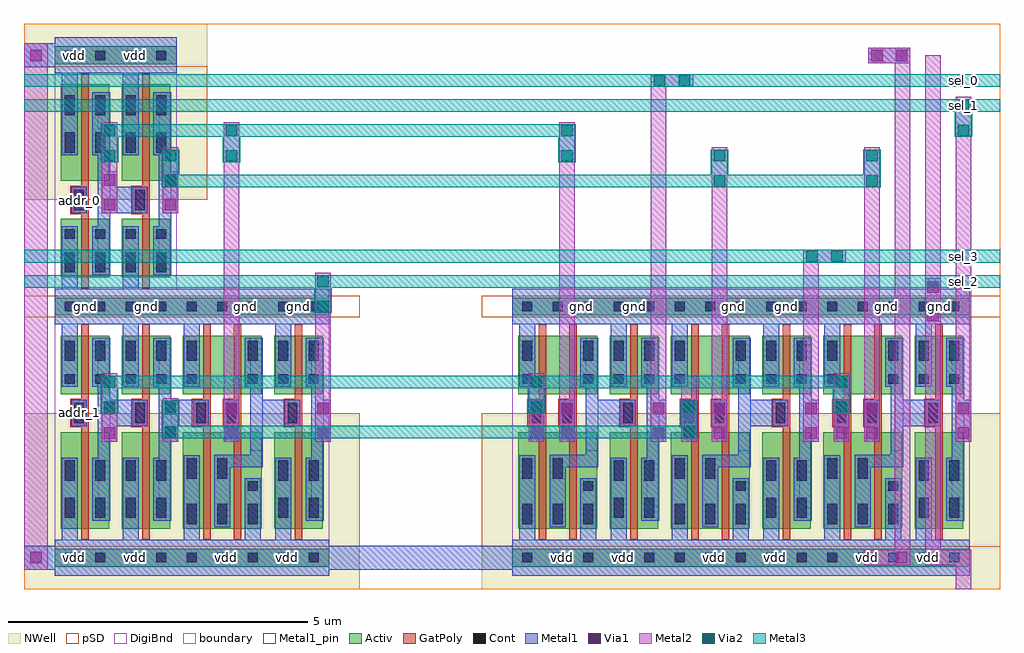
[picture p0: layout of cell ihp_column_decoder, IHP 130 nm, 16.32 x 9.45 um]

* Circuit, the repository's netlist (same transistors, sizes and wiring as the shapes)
* ------------------------------------------------------
*
*		Copyright 2025 IHP PDK Authors
*
*		Licensed under the Apache License, Version 2.0 (the "License");
*		you may not use this file except in compliance with the License.
*		You may obtain a copy of the License at
*
*		   https://www.apache.org/licenses/LICENSE-2.0
*
*		Unless required by applicable law or agreed to in writing, software
*		distributed under the License is distributed on an "AS IS" BASIS,
*		WITHOUT WARRANTIES OR CONDITIONS OF ANY KIND, either express or implied.
*		See the License for the specific language governing permissions and
*		limitations under the License.
*
*		Generated on Thu Jul 30 11:38:32 2026
*
* ------------------------------------------------------
* Flattened from column_decode_subset; unchanged W/L/m.
.subckt ihp_column_decoder addr_1 addr_0 sel_0 sel_1 sel_2 sel_3 vdd gnd
Xinternal_XI1<3>_MP1 internal_addr_n<3> internal_PADR<0> vdd vdd sg13_lv_pmos w=1.62u l=130.00n m=1
Xinternal_XI1<3>_MP0 internal_addr_n<3> internal_PADR<1> vdd vdd sg13_lv_pmos w=1.62u l=130.00n m=1
Xinternal_XI1<3>_MN0 internal_addr_n<3> internal_PADR<0> internal_XI1<3>_net7 gnd sg13_lv_nmos w=980.00n l=130.00n m=1
Xinternal_XI1<3>_MN1 internal_XI1<3>_net7 internal_PADR<1> gnd gnd sg13_lv_nmos w=980.00n l=130.00n m=1
Xinternal_XI1<2>_MP1 internal_addr_n<2> internal_NADR<0> vdd vdd sg13_lv_pmos w=1.62u l=130.00n m=1
Xinternal_XI1<2>_MP0 internal_addr_n<2> internal_PADR<1> vdd vdd sg13_lv_pmos w=1.62u l=130.00n m=1
Xinternal_XI1<2>_MN0 internal_addr_n<2> internal_NADR<0> internal_XI1<2>_net7 gnd sg13_lv_nmos w=980.00n l=130.00n m=1
Xinternal_XI1<2>_MN1 internal_XI1<2>_net7 internal_PADR<1> gnd gnd sg13_lv_nmos w=980.00n l=130.00n m=1
Xinternal_XI1<1>_MP1 internal_addr_n<1> internal_PADR<0> vdd vdd sg13_lv_pmos w=1.62u l=130.00n m=1
Xinternal_XI1<1>_MP0 internal_addr_n<1> internal_NADR<1> vdd vdd sg13_lv_pmos w=1.62u l=130.00n m=1
Xinternal_XI1<1>_MN0 internal_addr_n<1> internal_PADR<0> internal_XI1<1>_net7 gnd sg13_lv_nmos w=980.00n l=130.00n m=1
Xinternal_XI1<1>_MN1 internal_XI1<1>_net7 internal_NADR<1> gnd gnd sg13_lv_nmos w=980.00n l=130.00n m=1
Xinternal_XI1<0>_MP1 internal_addr_n<0> internal_NADR<0> vdd vdd sg13_lv_pmos w=1.62u l=130.00n m=1
Xinternal_XI1<0>_MP0 internal_addr_n<0> internal_NADR<1> vdd vdd sg13_lv_pmos w=1.62u l=130.00n m=1
Xinternal_XI1<0>_MN0 internal_addr_n<0> internal_NADR<0> internal_XI1<0>_net7 gnd sg13_lv_nmos w=980.00n l=130.00n m=1
Xinternal_XI1<0>_MN1 internal_XI1<0>_net7 internal_NADR<1> gnd gnd sg13_lv_nmos w=980.00n l=130.00n m=1
Xinternal_XI3<1>_MN0 internal_NADR<1> addr_1 gnd gnd sg13_lv_nmos w=980.00n l=130.00n m=1
Xinternal_XI3<1>_MP0 internal_NADR<1> addr_1 vdd vdd sg13_lv_pmos w=1.62u l=130.00n m=1
Xinternal_XI3<0>_MN0 internal_NADR<0> addr_0 gnd gnd sg13_lv_nmos w=980.00n l=130.00n m=1
Xinternal_XI3<0>_MP0 internal_NADR<0> addr_0 vdd vdd sg13_lv_pmos w=1.62u l=130.00n m=1
Xinternal_XI13<1>_MN0 internal_PADR<1> internal_NADR<1> gnd gnd sg13_lv_nmos w=980.00n l=130.00n m=1
Xinternal_XI13<1>_MP0 internal_PADR<1> internal_NADR<1> vdd vdd sg13_lv_pmos w=1.62u l=130.00n m=1
Xinternal_XI13<0>_MN0 internal_PADR<0> internal_NADR<0> gnd gnd sg13_lv_nmos w=980.00n l=130.00n m=1
Xinternal_XI13<0>_MP0 internal_PADR<0> internal_NADR<0> vdd vdd sg13_lv_pmos w=1.62u l=130.00n m=1
Xinternal_XI2<3>_MN0 sel_3 internal_addr_n<3> gnd gnd sg13_lv_nmos w=980.00n l=130.00n m=1
Xinternal_XI2<3>_MP0 sel_3 internal_addr_n<3> vdd vdd sg13_lv_pmos w=1.62u l=130.00n m=1
Xinternal_XI2<2>_MN0 sel_2 internal_addr_n<2> gnd gnd sg13_lv_nmos w=980.00n l=130.00n m=1
Xinternal_XI2<2>_MP0 sel_2 internal_addr_n<2> vdd vdd sg13_lv_pmos w=1.62u l=130.00n m=1
Xinternal_XI2<1>_MN0 sel_1 internal_addr_n<1> gnd gnd sg13_lv_nmos w=980.00n l=130.00n m=1
Xinternal_XI2<1>_MP0 sel_1 internal_addr_n<1> vdd vdd sg13_lv_pmos w=1.62u l=130.00n m=1
Xinternal_XI2<0>_MN0 sel_0 internal_addr_n<0> gnd gnd sg13_lv_nmos w=980.00n l=130.00n m=1
Xinternal_XI2<0>_MP0 sel_0 internal_addr_n<0> vdd vdd sg13_lv_pmos w=1.62u l=130.00n m=1
.ends ihp_column_decoder

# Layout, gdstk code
import gdstk
lib = gdstk.Library(unit=1e-6, precision=1e-09)
def R(c, l, rs):  # rectangles x0, y0, x1, y1
    for r in rs: c.add(gdstk.rectangle(r[:2], r[2:], *l))
def A(c, l, x, y, w, h, nx, ny, dx, dy):  # array of equal rectangles
    R(c, l, [(x+i*dx, y+j*dy, x+i*dx+w, y+j*dy+h) for i in range(nx) for j in range(ny)])
def P(c, l, *ps):  # polygons
    for p in ps: c.add(gdstk.Polygon(p, *l))
Activ = (1, 0)
GatPoly = (5, 0)
Cont = (6, 0)
Metal1 = (8, 0)
Metal1_pin = (8, 2)
Metal2 = (10, 0)
pSD = (14, 0)
DigiBnd = (16, 0)
Via1 = (19, 0)
Via2 = (29, 0)
Metal3 = (30, 0)
NWell = (31, 0)
boundary = (189, 4)

ihp_column_decoder = lib.new_cell('ihp_column_decoder')
A(ihp_column_decoder, Activ, 8.265, 1.005, 1.32, 1.62, 3, 1, 2.55, 0)
A(ihp_column_decoder, Activ, 9.795, 1.005, 0.81, 1.62, 3, 1, 2.55, 0)
A(ihp_column_decoder, Activ, 8.265, 3.255, 1.32, 0.98, 3, 1, 2.55, 0)
A(ihp_column_decoder, Activ, 9.795, 3.255, 0.81, 0.98, 3, 1, 2.55, 0)
R(ihp_column_decoder, Activ, [(0.51,0.375,5.1,0.675), (8.16,0.375,15.81,0.675), (0.615,1.005,1.425,2.625), (1.635,1.005,2.445,2.625), (2.655,1.005,3.975,2.625), (4.185,1.005,4.995,2.625), (0.615,3.255,1.425,4.235), (1.635,3.255,2.445,4.235), (2.655,3.255,3.975,4.235), (4.185,3.255,4.995,4.235), (0.51,4.575,5.1,4.875), (8.16,4.575,15.81,4.875), (0.615,5.215,1.425,6.195), (1.635,5.215,2.445,6.195), (0.615,6.825,1.425,8.445), (1.635,6.825,2.445,8.445), (0.51,8.775,2.55,9.075)])
P(ihp_column_decoder, GatPoly, [(0.955,0.825),(0.955,2.705),(0.77,2.705),(0.77,3.185),(0.955,3.185),(0.955,4.425),(1.085,4.425),(1.085,0.825)],
  [(1.975,0.825),(1.975,2.705),(1.79,2.705),(1.79,3.185),(1.975,3.185),(1.975,4.425),(2.105,4.425),(2.105,0.825)],
  [(2.995,0.825),(2.995,2.705),(2.805,2.705),(2.805,3.185),(2.995,3.185),(2.995,4.425),(3.125,4.425),(3.125,0.825)],
  [(3.505,0.825),(3.505,2.705),(3.32,2.705),(3.32,3.185),(3.505,3.185),(3.505,4.425),(3.635,4.425),(3.635,0.825)],
  [(4.525,0.825),(4.525,2.705),(4.34,2.705),(4.34,3.185),(4.525,3.185),(4.525,4.425),(4.655,4.425),(4.655,0.825)],
  [(8.605,0.825),(8.605,2.705),(8.415,2.705),(8.415,3.185),(8.605,3.185),(8.605,4.425),(8.735,4.425),(8.735,0.825)],
  [(9.115,0.825),(9.115,2.705),(8.93,2.705),(8.93,3.185),(9.115,3.185),(9.115,4.425),(9.245,4.425),(9.245,0.825)],
  [(10.135,0.825),(10.135,2.705),(9.95,2.705),(9.95,3.185),(10.135,3.185),(10.135,4.425),(10.265,4.425),(10.265,0.825)],
  [(11.155,0.825),(11.155,2.705),(10.965,2.705),(10.965,3.185),(11.155,3.185),(11.155,4.425),(11.285,4.425),(11.285,0.825)],
  [(11.665,0.825),(11.665,2.705),(11.48,2.705),(11.48,3.185),(11.665,3.185),(11.665,4.425),(11.795,4.425),(11.795,0.825)],
  [(12.685,0.825),(12.685,2.705),(12.5,2.705),(12.5,3.185),(12.685,3.185),(12.685,4.425),(12.815,4.425),(12.815,0.825)],
  [(13.705,0.825),(13.705,2.705),(13.515,2.705),(13.515,3.185),(13.705,3.185),(13.705,4.425),(13.835,4.425),(13.835,0.825)],
  [(14.215,0.825),(14.215,2.705),(14.03,2.705),(14.03,3.185),(14.215,3.185),(14.215,4.425),(14.345,4.425),(14.345,0.825)],
  [(15.235,0.825),(15.235,2.705),(15.05,2.705),(15.05,3.185),(15.235,3.185),(15.235,4.425),(15.365,4.425),(15.365,0.825)],
  [(0.955,5.025),(0.955,6.265),(0.77,6.265),(0.77,6.745),(0.955,6.745),(0.955,8.625),(1.085,8.625),(1.085,5.025)],
  [(1.975,5.025),(1.975,6.265),(1.79,6.265),(1.79,6.745),(1.975,6.745),(1.975,8.625),(2.105,8.625),(2.105,5.025)])
A(ihp_column_decoder, Cont, 0.685, 0.445, 0.16, 0.16, 9, 2, 0.51, 4.2)
A(ihp_column_decoder, Cont, 8.335, 0.445, 0.16, 0.16, 15, 2, 0.51, 4.2)
A(ihp_column_decoder, Cont, 2.725, 1.085, 0.16, 0.34, 3, 1, 0.51, 0)
A(ihp_column_decoder, Cont, 8.335, 1.085, 0.16, 0.34, 3, 1, 0.51, 0)
A(ihp_column_decoder, Cont, 10.885, 1.085, 0.16, 0.34, 3, 1, 0.51, 0)
A(ihp_column_decoder, Cont, 13.435, 1.085, 0.16, 0.34, 3, 1, 0.51, 0)
A(ihp_column_decoder, Cont, 0.685, 1.19, 0.16, 0.34, 4, 2, 0.51, 0.62)
A(ihp_column_decoder, Cont, 9.355, 1.645, 0.16, 0.16, 3, 1, 2.55, 0)
A(ihp_column_decoder, Cont, 0.84, 2.775, 0.16, 0.34, 3, 1, 1.02, 0)
A(ihp_column_decoder, Cont, 9, 2.775, 0.16, 0.34, 3, 1, 1.02, 0)
A(ihp_column_decoder, Cont, 11.55, 2.775, 0.16, 0.34, 3, 1, 1.02, 0)
A(ihp_column_decoder, Cont, 0.685, 3.435, 0.16, 0.16, 5, 1, 0.51, 0)
A(ihp_column_decoder, Cont, 3.745, 3.435, 0.16, 0.16, 3, 1, 0.51, 0)
A(ihp_column_decoder, Cont, 9.355, 3.435, 0.16, 0.16, 4, 1, 0.51, 0)
A(ihp_column_decoder, Cont, 11.905, 3.435, 0.16, 0.16, 4, 1, 0.51, 0)
A(ihp_column_decoder, Cont, 14.455, 3.435, 0.16, 0.16, 3, 1, 0.51, 0)
A(ihp_column_decoder, Cont, 0.685, 3.815, 0.16, 0.34, 5, 1, 0.51, 0)
A(ihp_column_decoder, Cont, 3.745, 3.815, 0.16, 0.34, 3, 1, 0.51, 0)
A(ihp_column_decoder, Cont, 9.355, 3.815, 0.16, 0.34, 4, 1, 0.51, 0)
A(ihp_column_decoder, Cont, 11.905, 3.815, 0.16, 0.34, 4, 1, 0.51, 0)
A(ihp_column_decoder, Cont, 14.455, 3.815, 0.16, 0.34, 3, 1, 0.51, 0)
A(ihp_column_decoder, Cont, 0.685, 5.295, 0.16, 0.34, 4, 2, 0.51, 2.005)
A(ihp_column_decoder, Cont, 0.685, 5.855, 0.16, 0.16, 4, 2, 0.51, 2.99)
A(ihp_column_decoder, Cont, 0.685, 7.92, 0.16, 0.34, 4, 1, 0.51, 0)
R(ihp_column_decoder, Cont, [(4.255,1.19,4.415,1.53), (4.765,1.19,4.925,1.53), (9.865,1.19,10.025,1.53), (10.375,1.19,10.535,1.53), (12.415,1.19,12.575,1.53), (12.925,1.19,13.085,1.53), (14.965,1.19,15.125,1.53), (15.475,1.19,15.635,1.53), (3.745,1.645,3.905,1.805), (4.255,1.81,4.415,2.15), (4.765,1.81,4.925,2.15), (9.865,1.81,10.025,2.15), (10.375,1.81,10.535,2.15), (12.415,1.81,12.575,2.15), (12.925,1.81,13.085,2.15), (14.965,1.81,15.125,2.15), (15.475,1.81,15.635,2.15), (2.725,1.845,2.885,2.185), (3.235,1.845,3.395,2.185), (8.335,1.845,8.495,2.185), (8.845,1.845,9.005,2.185), (10.885,1.845,11.045,2.185), (11.395,1.845,11.555,2.185), (13.435,1.845,13.595,2.185), (13.945,1.845,14.105,2.185), (3.39,2.775,3.55,3.115), (4.41,2.775,4.57,3.115), (8.49,2.775,8.65,3.115), (14.1,2.775,14.26,3.115), (15.12,2.775,15.28,3.115), (8.335,3.435,8.495,3.595), (8.335,3.815,8.495,4.155), (0.84,6.335,1,6.675), (1.86,6.335,2.02,6.675)])
A(ihp_column_decoder, Metal1, 8.285, 0.825, 0.26, 1.41, 3, 1, 2.55, 0)
A(ihp_column_decoder, Metal1, 9.305, 0.825, 0.26, 1.03, 3, 1, 2.55, 0)
A(ihp_column_decoder, Metal1, 9.815, 0.825, 0.26, 1.375, 3, 1, 2.55, 0)
A(ihp_column_decoder, Metal1, 8.79, 1.035, 0.265, 1, 3, 1, 2.55, 0)
A(ihp_column_decoder, Metal1, 10.325, 1.14, 0.295, 1.06, 3, 1, 2.55, 0)
A(ihp_column_decoder, Metal1, 8.79, 2.035, 0.81, 0.21, 3, 1, 2.55, 0)
A(ihp_column_decoder, Metal1, 10.41, 2.2, 0.21, 0.265, 3, 1, 2.55, 0)
A(ihp_column_decoder, Metal1, 9.39, 2.245, 0.21, 0.48, 3, 1, 2.55, 0)
A(ihp_column_decoder, Metal1, 10.41, 2.465, 0.33, 0.7, 3, 1, 2.55, 0)
A(ihp_column_decoder, Metal1, 9.39, 2.725, 0.84, 0.44, 3, 1, 2.55, 0)
A(ihp_column_decoder, Metal1, 0.635, 3.385, 0.26, 1.04, 3, 1, 1.02, 0)
R(ihp_column_decoder, Metal1, [(0.51,0.225,5.1,0.325), (8.16,0.225,15.81,0.325), (0,0.325,15.81,0.725), (0.51,0.725,5.1,0.825), (8.16,0.725,15.81,0.825), (0.635,0.825,0.895,2.2), (1.655,0.825,1.915,2.2), (2.675,0.825,2.935,2.235), (3.695,0.825,3.955,1.855), (4.205,0.825,4.465,2.2), (3.18,1.035,3.445,2.035), (1.145,1.14,1.44,2.2), (2.165,1.14,2.46,2.2), (4.715,1.14,5.01,2.2), (3.18,2.035,3.99,2.245), (1.23,2.2,1.44,2.465), (2.25,2.2,2.46,2.465), (4.8,2.2,5.01,2.465), (3.78,2.245,3.99,2.725), (1.23,2.465,1.56,2.725), (2.25,2.465,2.58,2.725), (3.34,2.465,3.6,3.165), (4.8,2.465,5.13,3.165), (8.44,2.465,8.7,3.165), (8.95,2.465,9.21,3.165), (10.99,2.465,11.25,3.165), (11.5,2.465,11.76,3.165), (13.54,2.465,13.8,3.165), (14.05,2.465,14.31,3.165), (0.79,2.725,1.05,3.165), (1.23,2.725,2.07,3.165), (2.25,2.725,3.09,3.165), (3.78,2.725,4.62,3.165), (1.23,3.165,1.44,3.385), (2.25,3.165,2.46,3.385), (3.78,3.165,3.99,3.385), (4.8,3.165,5.01,3.385), (9.39,3.165,9.6,3.385), (10.41,3.165,10.62,3.385), (11.94,3.165,12.15,3.385), (12.96,3.165,13.17,3.385), (14.49,3.165,14.7,3.385), (15.51,3.165,15.72,3.385), (1.145,3.385,1.44,4.205), (2.165,3.385,2.46,4.205), (3.695,3.385,3.99,4.205), (4.205,3.385,4.465,4.425), (4.715,3.385,5.01,4.205), (8.285,3.385,8.545,4.425), (9.305,3.385,9.6,4.205), (9.815,3.385,10.075,4.425), (10.325,3.385,10.62,4.205), (10.835,3.385,11.095,4.425), (11.855,3.385,12.15,4.205), (12.365,3.385,12.625,4.425), (12.875,3.385,13.17,4.205), (13.385,3.385,13.645,4.425), (14.405,3.385,14.7,4.205), (14.915,3.385,15.175,4.425), (15.425,3.385,15.72,4.205), (0.51,4.425,5.1,5.025), (8.16,4.425,15.81,5.025), (0.635,5.025,0.895,6.065), (1.655,5.025,1.915,6.065), (15.07,5.025,15.33,5.195), (1.145,5.245,1.44,6.065), (2.165,5.245,2.46,6.065), (1.23,6.065,1.44,6.285), (2.25,6.065,2.46,6.285), (0.79,6.285,1.05,6.725), (1.23,6.285,2.07,6.725), (2.25,6.285,2.58,6.985), (1.23,6.725,1.56,6.985), (1.23,6.985,1.44,7.25), (2.25,6.985,2.46,7.25), (0.635,7.25,0.895,8.625), (1.145,7.25,1.44,8.31), (1.655,7.25,1.915,8.625), (2.165,7.25,2.46,8.31), (0.51,8.625,2.55,8.725), (0,8.725,2.55,9.125), (14.12,8.795,14.82,9.055), (0.51,9.125,2.55,9.225)])
A(ihp_column_decoder, Metal1_pin, 10.41, 1.365, 0.21, 2.73, 3, 1, 2.55, 0)
A(ihp_column_decoder, Metal1_pin, 9.39, 2.31, 0.21, 1.895, 3, 1, 2.55, 0)
A(ihp_column_decoder, Metal1_pin, 0.79, 2.725, 0.26, 0.44, 3, 1, 1.02, 0)
A(ihp_column_decoder, Metal1_pin, 8.95, 2.725, 0.26, 0.44, 3, 1, 1.02, 0)
A(ihp_column_decoder, Metal1_pin, 11.5, 2.725, 0.26, 0.44, 3, 1, 1.02, 0)
R(ihp_column_decoder, Metal1_pin, [(0.51,0.225,5.1,0.825), (8.16,0.225,15.81,0.825), (1.23,1.365,1.44,4.095), (2.25,1.365,2.46,4.095), (4.8,1.365,5.01,4.095), (3.78,2.31,3.99,4.205), (3.34,2.725,3.6,3.165), (4.36,2.725,4.62,3.165), (8.44,2.725,8.7,3.165), (14.05,2.725,14.31,3.165), (15.07,2.725,15.33,3.165), (0.51,4.425,5.1,5.025), (8.16,4.425,15.81,5.025), (1.23,5.355,1.44,8.085), (2.25,5.355,2.46,8.085), (0.79,6.285,1.05,6.725), (1.81,6.285,2.07,6.725), (0.51,8.625,2.55,9.225)])
R(ihp_column_decoder, Metal2, [(15.58,0,15.84,0.395), (0,0.325,0.4,9.125), (14.05,0.395,14.82,0.655), (15.07,0.395,15.84,0.655), (14.56,0.655,14.82,8.795), (15.07,0.655,15.33,8.925), (1.3,2.465,1.56,3.61), (2.32,2.465,2.58,3.19), (3.34,2.465,3.6,7.81), (4.87,2.465,5.13,5.29), (8.44,2.465,8.7,3.61), (8.95,2.465,9.21,7.81), (10.48,2.465,10.74,8.4), (10.99,2.465,11.25,3.57), (11.5,2.465,11.76,7.39), (13.03,2.465,13.29,5.46), (13.54,2.465,13.8,3.61), (14.05,2.465,14.31,7.39), (15.58,2.465,15.84,8.23), (13.03,5.46,13.74,5.67), (1.3,6.285,1.56,7.81), (2.32,6.285,2.58,7.39), (10.48,8.4,11.19,8.61), (14.12,8.795,14.82,9.055)])
R(ihp_column_decoder, pSD, [(0,0.705,5.61,2.94), (7.65,0.705,16.32,2.94), (0,4.545,5.61,4.905), (7.65,4.545,16.32,4.905), (0,6.51,3.06,8.745)])
R(ihp_column_decoder, DigiBnd, [(8.16,0.225,15.81,5.025)])
P(ihp_column_decoder, DigiBnd, [(0.51,0.225),(0.51,9.225),(2.55,9.225),(2.55,5.025),(5.1,5.025),(5.1,0.225)])
A(ihp_column_decoder, Via1, 1.335, 2.515, 0.19, 0.19, 3, 2, 1.02, 0.41)
A(ihp_column_decoder, Via1, 10.515, 2.515, 0.19, 0.19, 3, 2, 0.51, 0.41)
A(ihp_column_decoder, Via1, 13.065, 2.515, 0.19, 0.19, 3, 2, 0.51, 0.41)
R(ihp_column_decoder, Via1, [(0.105,0.43,0.295,0.62), (14.1,0.43,14.29,0.62), (14.58,0.43,14.77,0.62), (4.905,2.515,5.095,2.705), (8.475,2.515,8.665,2.705), (8.985,2.515,9.175,2.705), (15.615,2.515,15.805,2.705), (4.905,2.925,5.095,3.115), (8.475,2.925,8.665,3.115), (8.985,2.925,9.175,3.115), (15.615,2.925,15.805,3.115), (15.105,4.475,15.295,4.665), (15.105,4.955,15.295,5.145), (1.335,6.335,1.525,6.525), (2.355,6.335,2.545,6.525), (1.335,6.745,1.525,6.935), (2.355,6.745,2.545,6.935), (0.105,8.83,0.295,9.02), (14.17,8.83,14.36,9.02), (14.58,8.83,14.77,9.02)])
A(ihp_column_decoder, Via2, 8.475, 2.95, 0.19, 0.19, 3, 1, 2.55, 0)
A(ihp_column_decoder, Via2, 1.335, 7.15, 0.19, 0.19, 3, 1, 1.02, 0)
A(ihp_column_decoder, Via2, 8.985, 7.15, 0.19, 0.19, 3, 1, 2.55, 0)
R(ihp_column_decoder, Via2, [(2.355,2.53,2.545,2.72), (11.025,2.53,11.215,2.72), (1.335,2.95,1.525,3.14), (2.355,2.95,2.545,3.14), (1.335,3.37,1.525,3.56), (8.475,3.37,8.665,3.56), (13.575,3.37,13.765,3.56), (4.905,4.63,5.095,4.82), (4.905,5.05,5.095,5.24), (13.08,5.47,13.27,5.66), (13.5,5.47,13.69,5.66), (2.355,6.73,2.545,6.92), (11.535,6.73,11.725,6.92), (14.085,6.73,14.275,6.92), (1.335,7.57,1.525,7.76), (3.375,7.57,3.565,7.76), (8.985,7.57,9.175,7.76), (15.615,7.57,15.805,7.76), (15.615,7.99,15.805,8.18), (10.53,8.41,10.72,8.6), (10.95,8.41,11.14,8.6)])
R(ihp_column_decoder, Metal3, [(2.305,2.52,11.265,2.73), (2.305,2.73,2.595,3.15), (10.975,2.73,11.265,3.15), (1.285,2.94,1.575,3.36), (8.425,2.94,8.715,3.36), (13.525,2.94,13.815,3.36), (1.285,3.36,13.815,3.57), (4.855,4.62,5.145,5.04), (0,5.04,16.32,5.25), (0,5.46,16.32,5.67), (2.305,6.72,14.325,6.93), (2.305,6.93,2.595,7.35), (11.485,6.93,11.775,7.35), (14.035,6.93,14.325,7.35), (1.285,7.14,1.575,7.56), (3.325,7.14,3.615,7.56), (8.935,7.14,9.225,7.56), (1.285,7.56,9.225,7.77), (15.565,7.56,15.855,7.98), (0,7.98,16.32,8.19), (0,8.4,16.32,8.61)])
R(ihp_column_decoder, NWell, [(0,0,5.61,2.94), (7.65,0,16.32,2.94), (0,6.51,3.06,9.45)])
R(ihp_column_decoder, boundary, [(0,0,16.32,9.45)])
ihp_column_decoder.add(gdstk.Label('addr_1', (0.92,2.945), layer=8, texttype=25))
ihp_column_decoder.add(gdstk.Label('addr_0', (0.92,6.505), layer=8, texttype=25))
ihp_column_decoder.add(gdstk.Label('gnd', (15.3,4.725), layer=8, texttype=25))
ihp_column_decoder.add(gdstk.Label('vdd', (15.12,0.525), layer=8, texttype=25))
ihp_column_decoder.add(gdstk.Label('gnd', (2.04,4.725), layer=8, texttype=25))
ihp_column_decoder.add(gdstk.Label('vdd', (1.86,0.525), layer=8, texttype=25))
ihp_column_decoder.add(gdstk.Label('gnd', (1.02,4.725), layer=8, texttype=25))
ihp_column_decoder.add(gdstk.Label('vdd', (0.84,0.525), layer=8, texttype=25))
ihp_column_decoder.add(gdstk.Label('gnd', (4.59,4.725), layer=8, texttype=25))
ihp_column_decoder.add(gdstk.Label('vdd', (4.41,0.525), layer=8, texttype=25))
ihp_column_decoder.add(gdstk.Label('gnd', (12.75,4.725), layer=8, texttype=25))
ihp_column_decoder.add(gdstk.Label('vdd', (12.57,0.525), layer=8, texttype=25))
ihp_column_decoder.add(gdstk.Label('gnd', (10.2,4.725), layer=8, texttype=25))
ihp_column_decoder.add(gdstk.Label('vdd', (10.02,0.525), layer=8, texttype=25))
ihp_column_decoder.add(gdstk.Label('gnd', (1.02,4.725), layer=8, texttype=25))
ihp_column_decoder.add(gdstk.Label('vdd', (0.84,8.925), layer=8, texttype=25))
ihp_column_decoder.add(gdstk.Label('gnd', (2.04,4.725), layer=8, texttype=25))
ihp_column_decoder.add(gdstk.Label('vdd', (1.86,8.925), layer=8, texttype=25))
ihp_column_decoder.add(gdstk.Label('vdd', (11.55,0.525), layer=8, texttype=25))
ihp_column_decoder.add(gdstk.Label('gnd', (11.865,4.725), layer=8, texttype=25))
ihp_column_decoder.add(gdstk.Label('vdd', (14.1,0.525), layer=8, texttype=25))
ihp_column_decoder.add(gdstk.Label('gnd', (14.415,4.725), layer=8, texttype=25))
ihp_column_decoder.add(gdstk.Label('vdd', (9,0.525), layer=8, texttype=25))
ihp_column_decoder.add(gdstk.Label('gnd', (9.315,4.725), layer=8, texttype=25))
ihp_column_decoder.add(gdstk.Label('vdd', (3.39,0.525), layer=8, texttype=25))
ihp_column_decoder.add(gdstk.Label('gnd', (3.705,4.725), layer=8, texttype=25))
ihp_column_decoder.add(gdstk.Label('sel_3', (15.705,5.565), layer=30, texttype=25))
ihp_column_decoder.add(gdstk.Label('sel_2', (15.705,5.145), layer=30, texttype=25))
ihp_column_decoder.add(gdstk.Label('sel_1', (15.705,8.085), layer=30, texttype=25))
ihp_column_decoder.add(gdstk.Label('sel_0', (15.705,8.505), layer=30, texttype=25))

lib.write_gds('ihp_column_decoder.gds')
